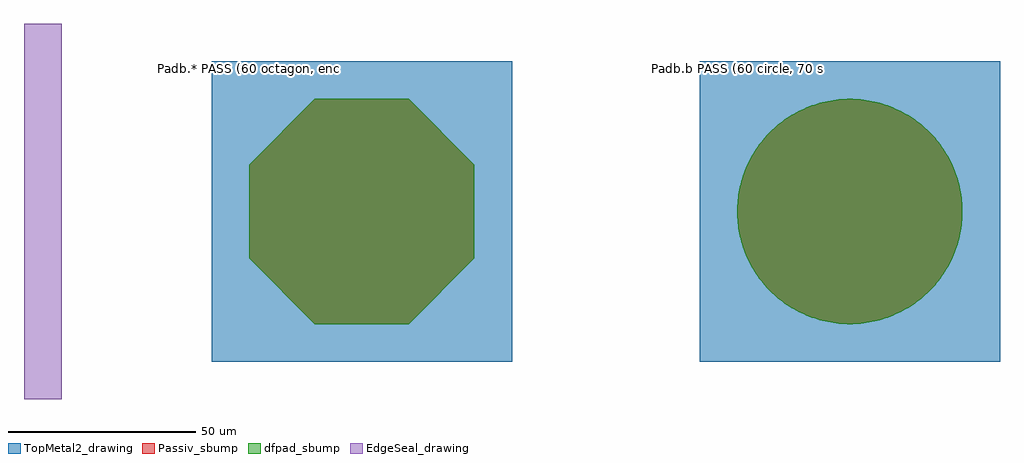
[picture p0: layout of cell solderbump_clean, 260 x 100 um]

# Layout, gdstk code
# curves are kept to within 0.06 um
import gdstk
lib = gdstk.Library(unit=1e-6, precision=1e-09)
def R(c, l, rs):  # rectangles x0, y0, x1, y1
    for r in rs: c.add(gdstk.rectangle(r[:2], r[2:], *l))
def P(c, l, *ps):  # polygons
    for p in ps: c.add(gdstk.Polygon(p, *l))
Passiv_sbump = (9, 36)
EdgeSeal_drawing = (39, 0)
dfpad_sbump = (41, 36)
TopMetal2_drawing = (134, 0)

solderbump_clean = lib.new_cell('solderbump_clean')
P(solderbump_clean, Passiv_sbump, [(17.5,0),(0,17.5),(0,42.5),(17.5,60),(42.5,60),(60,42.5),(60,17.5),(42.5,0)],
  [(160,0),(157.06,0.145),(154.145,0.575),(151.29,1.29),(148.52,2.285),(145.86,3.54),(143.335,5.055),(140.97,6.81),(138.785,8.785),(136.81,10.97),(135.055,13.335),(133.54,15.86),(132.285,18.52),(131.29,21.29),(130.575,24.145),(130.145,27.06),(130,30),(130.145,32.94),(130.575,35.855),(131.29,38.71),(132.285,41.48),(133.54,44.14),(135.055,46.665),(136.81,49.03),(138.785,51.215),(140.97,53.19),(143.335,54.945),(145.86,56.46),(148.52,57.715),(151.29,58.71),(154.145,59.425),(157.06,59.855),(160,60),(162.94,59.855),(165.855,59.425),(168.71,58.71),(171.48,57.715),(174.14,56.46),(176.665,54.945),(179.03,53.19),(181.215,51.215),(183.19,49.03),(184.945,46.665),(186.46,44.14),(187.715,41.48),(188.71,38.71),(189.425,35.855),(189.855,32.94),(190,30),(189.855,27.06),(189.425,24.145),(188.71,21.29),(187.715,18.52),(186.46,15.86),(184.945,13.335),(183.19,10.97),(181.215,8.785),(179.03,6.81),(176.665,5.055),(174.14,3.54),(171.48,2.285),(168.71,1.29),(165.855,0.575),(162.94,0.145)])
R(solderbump_clean, EdgeSeal_drawing, [(-60,-20,-50,80)])
P(solderbump_clean, dfpad_sbump, [(17.5,0),(0,17.5),(0,42.5),(17.5,60),(42.5,60),(60,42.5),(60,17.5),(42.5,0)],
  [(160,0),(157.06,0.145),(154.145,0.575),(151.29,1.29),(148.52,2.285),(145.86,3.54),(143.335,5.055),(140.97,6.81),(138.785,8.785),(136.81,10.97),(135.055,13.335),(133.54,15.86),(132.285,18.52),(131.29,21.29),(130.575,24.145),(130.145,27.06),(130,30),(130.145,32.94),(130.575,35.855),(131.29,38.71),(132.285,41.48),(133.54,44.14),(135.055,46.665),(136.81,49.03),(138.785,51.215),(140.97,53.19),(143.335,54.945),(145.86,56.46),(148.52,57.715),(151.29,58.71),(154.145,59.425),(157.06,59.855),(160,60),(162.94,59.855),(165.855,59.425),(168.71,58.71),(171.48,57.715),(174.14,56.46),(176.665,54.945),(179.03,53.19),(181.215,51.215),(183.19,49.03),(184.945,46.665),(186.46,44.14),(187.715,41.48),(188.71,38.71),(189.425,35.855),(189.855,32.94),(190,30),(189.855,27.06),(189.425,24.145),(188.71,21.29),(187.715,18.52),(186.46,15.86),(184.945,13.335),(183.19,10.97),(181.215,8.785),(179.03,6.81),(176.665,5.055),(174.14,3.54),(171.48,2.285),(168.71,1.29),(165.855,0.575),(162.94,0.145)])
R(solderbump_clean, TopMetal2_drawing, [(-10,-10,70,70), (120,-10,200,70)])
solderbump_clean.add(gdstk.Label('6.9 Solder Bump - PASS', (0,-40), layer=63, texttype=0))
solderbump_clean.add(gdstk.Label('Padb.* PASS (60 octagon, enc 10, 50 to seal)', (0,68), layer=63, texttype=0))
solderbump_clean.add(gdstk.Label('Padb.b PASS (60 circle, 70 space)', (130,68), layer=63, texttype=0))

lib.write_gds('solderbump_clean.gds')
